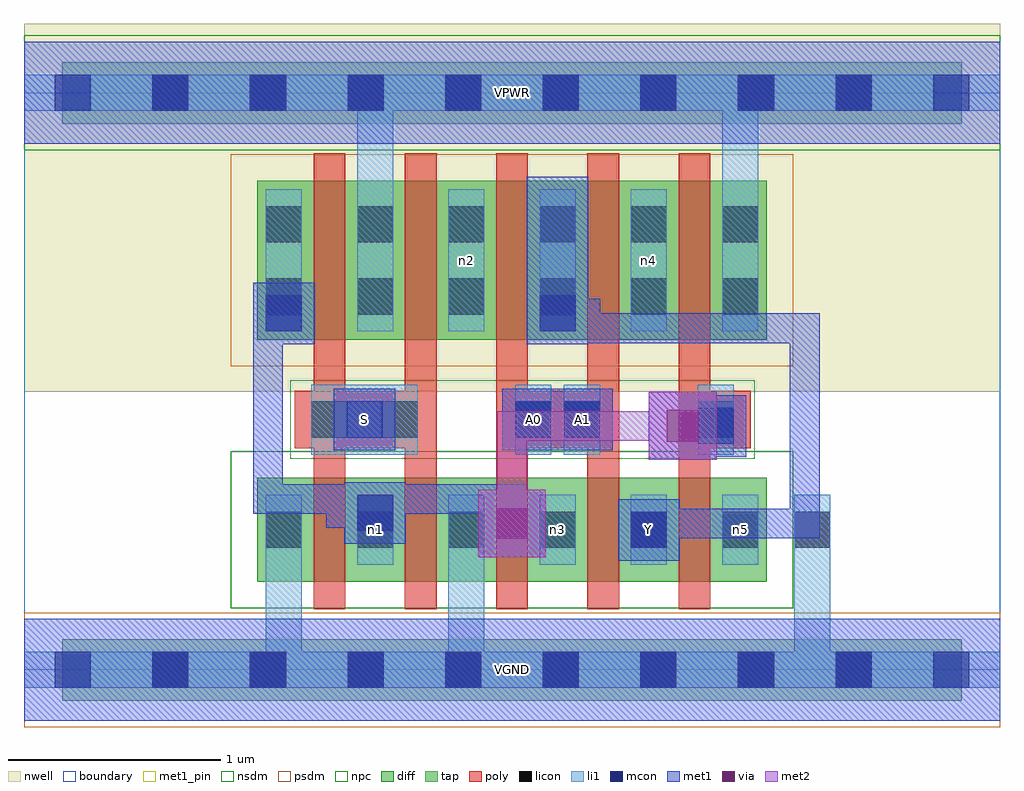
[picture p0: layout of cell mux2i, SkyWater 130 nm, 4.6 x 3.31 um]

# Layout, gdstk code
import gdstk
lib = gdstk.Library(unit=1e-6, precision=1e-09)
def R(c, l, rs):  # rectangles x0, y0, x1, y1
    for r in rs: c.add(gdstk.rectangle(r[:2], r[2:], *l))
def A(c, l, x, y, w, h, nx, ny, dx, dy):  # array of equal rectangles
    R(c, l, [(x+i*dx, y+j*dy, x+i*dx+w, y+j*dy+h) for i in range(nx) for j in range(ny)])
nwell = (64, 20)
diff = (65, 20)
tap = (65, 44)
poly = (66, 20)
licon = (66, 44)
li1 = (67, 20)
mcon = (67, 44)
met1_pin = (68, 16)
met1 = (68, 20)
via = (68, 44)
met2 = (69, 20)
nsdm = (93, 44)
psdm = (94, 20)
npc = (95, 20)
boundary = (235, 4)

mux2i = lib.new_cell('mux2i')
R(mux2i, nwell, [(0,1.31,4.6,3.045)])
R(mux2i, diff, [(1.1,0.415,3.5,0.905), (1.1,1.555,3.5,2.305)])
R(mux2i, tap, [(0.18,-0.145,4.42,0.145), (0.18,2.575,4.42,2.865)])
A(mux2i, poly, 1.365, 0.285, 0.15, 2.15, 5, 1, 0.43, 0)
R(mux2i, poly, [(1.275,1.045,1.605,1.315), (1.605,1.045,1.935,1.315), (2.235,1.045,2.565,1.315), (2.465,1.045,2.795,1.315), (3.095,1.045,3.425,1.315)])
A(mux2i, licon, 0.605, -0.085, 0.17, 0.17, 8, 2, 0.46, 2.72)
A(mux2i, licon, 1.14, 0.575, 0.17, 0.17, 6, 2, 0.43, 1.1)
A(mux2i, licon, 1.14, 2.015, 0.17, 0.17, 6, 1, 0.43, 0)
R(mux2i, licon, [(3.63,0.575,3.8,0.745), (1.355,1.095,1.525,1.265), (1.685,1.095,1.855,1.265), (2.315,1.095,2.485,1.265), (2.545,1.095,2.715,1.265), (3.175,1.095,3.345,1.265)])
A(mux2i, li1, 1.14, 0.495, 0.17, 0.33, 6, 1, 0.43, 0)
A(mux2i, li1, 1.14, 1.595, 0.17, 0.67, 6, 1, 0.43, 0)
R(mux2i, li1, [(0,-0.085,4.6,0.085), (1.14,-0.085,1.31,0.825), (2,-0.085,2.17,0.825), (3.63,-0.085,3.8,0.825), (3.63,0.495,3.8,0.825), (1.355,1.015,1.855,1.345), (2.315,1.015,2.485,1.345), (2.545,1.015,2.715,1.345), (3.175,1.015,3.345,1.345), (1.57,1.595,1.74,2.805), (3.29,1.595,3.46,2.805), (0,2.635,4.6,2.805)])
A(mux2i, mcon, 0.145, -0.085, 0.17, 0.17, 10, 2, 0.46, 2.72)
R(mux2i, mcon, [(2.86,0.575,3.03,0.745), (1.57,0.655,1.74,0.825), (3.175,1.065,3.345,1.235), (1.52,1.095,1.69,1.265), (2.315,1.095,2.485,1.265), (2.545,1.095,2.715,1.265), (1.14,1.595,1.31,1.765), (2.43,1.595,2.6,1.765)])
R(mux2i, met1_pin, [(0,-0.24,4.6,0.24), (2.8,0.515,3.09,0.805), (1.46,1.035,1.75,1.325), (2.255,1.035,2.545,1.325), (2.485,1.035,2.775,1.325), (0,2.48,4.6,2.96)])
R(mux2i, met1, [(0,-0.24,4.6,0.24), (2.8,0.515,3.09,0.805), (2.14,0.53,2.46,0.85), (1.51,0.595,1.8,0.885), (2.23,0.62,2.37,0.875), (2.92,0.62,3.06,0.76), (2.92,0.62,3.75,0.76), (3.61,0.62,3.75,1.68), (1.425,0.67,1.725,0.81), (1.425,0.67,1.565,0.875), (1.08,0.735,1.565,0.875), (1.08,0.735,1.22,1.565), (1.425,0.735,2.37,0.875), (2.945,0.99,3.265,1.31), (3.115,1.005,3.405,1.295), (1.46,1.035,1.75,1.325), (2.255,1.035,2.545,1.325), (2.485,1.035,2.775,1.325), (3.035,1.08,3.33,1.22), (1.08,1.425,1.22,1.75), (1.08,1.535,1.37,1.825), (2.37,1.535,2.66,1.825), (2.37,1.535,2.66,2.325), (2.46,1.54,2.6,1.68), (2.46,1.54,2.715,1.68), (2.575,1.54,2.715,1.75), (2.575,1.54,3.75,1.68), (1.08,1.61,1.295,1.75), (2.445,1.61,2.715,1.75), (0,2.48,4.6,2.96)])
R(mux2i, via, [(2.225,0.615,2.375,0.765), (3.03,1.075,3.18,1.225)])
R(mux2i, met2, [(2.14,0.53,2.46,0.85), (2.23,0.62,2.37,1.22), (2.945,0.99,3.265,1.31), (2.23,1.08,3.175,1.22)])
R(mux2i, nsdm, [(0.975,0.29,3.625,1.03), (0,2.45,4.6,2.99)])
R(mux2i, psdm, [(0,-0.27,4.6,0.27), (0.975,1.43,3.625,2.43)])
R(mux2i, npc, [(1.255,0.995,3.445,1.365)])
R(mux2i, boundary, [(0,0,4.6,2.72)])
mux2i.add(gdstk.Label('n1', (1.655,0.66), layer=67, texttype=5))
mux2i.add(gdstk.Label('n3', (2.515,0.66), layer=67, texttype=5))
mux2i.add(gdstk.Label('n5', (3.375,0.66), layer=67, texttype=5))
mux2i.add(gdstk.Label('n2', (2.085,1.93), layer=67, texttype=5))
mux2i.add(gdstk.Label('n4', (2.945,1.93), layer=67, texttype=5))
mux2i.add(gdstk.Label('S', (1.605,1.18), layer=68, texttype=5))
mux2i.add(gdstk.Label('A0', (2.4,1.18), layer=68, texttype=5))
mux2i.add(gdstk.Label('A1', (2.63,1.18), layer=68, texttype=5))
mux2i.add(gdstk.Label('Y', (2.945,0.66), layer=68, texttype=5))
mux2i.add(gdstk.Label('VPWR', (2.3,2.72), layer=68, texttype=5))
mux2i.add(gdstk.Label('VGND', (2.3,0), layer=68, texttype=5))
mux2i.add(gdstk.Label('S', (1.605,1.18), layer=68, texttype=16))
mux2i.add(gdstk.Label('A0', (2.4,1.18), layer=68, texttype=16))
mux2i.add(gdstk.Label('A1', (2.63,1.18), layer=68, texttype=16))
mux2i.add(gdstk.Label('Y', (2.945,0.66), layer=68, texttype=16))
mux2i.add(gdstk.Label('VPWR', (2.3,2.72), layer=68, texttype=16))
mux2i.add(gdstk.Label('VGND', (2.3,0), layer=68, texttype=16))

lib.write_gds('mux2i.gds')
